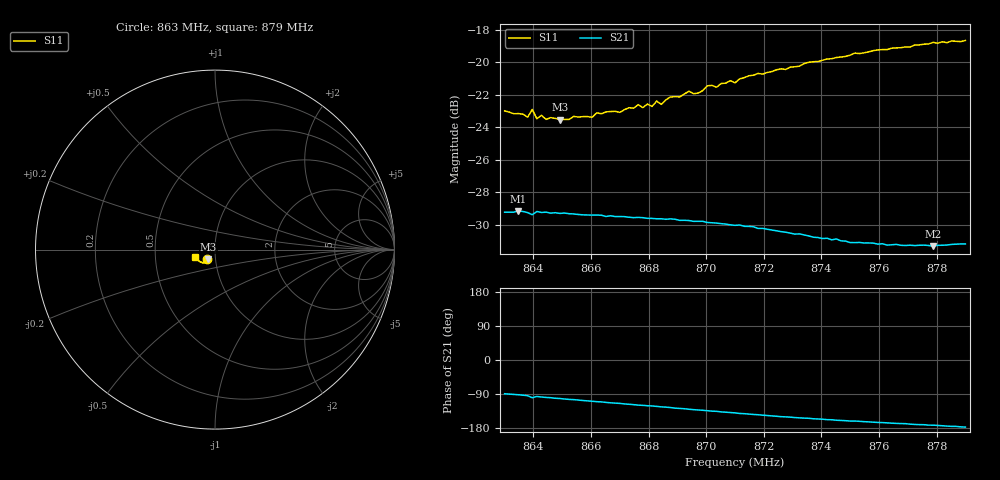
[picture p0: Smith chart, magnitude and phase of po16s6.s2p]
# HZ S RI R 50
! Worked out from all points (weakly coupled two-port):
!   101 points, 863 MHz to 879 MHz, reference 50 ohm
!   highest |S21| = -29.14 dB at 863.48 MHz (marker M1); lowest = -31.3 dB at 877.88 MHz (marker M2)
!   lowest |S11| = -23.5 dB at 864.92 MHz (marker M3), VSWR 1.14, Z = 46.1 - j5.11 ohm
!   |S11| at or under -10 dB: start of sweep to end of sweep
!   S12 and S22 are empty: the file has one direction only
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8.63e8  -0.0454 -0.0545  0.000627 -0.0346  0 0  0 0
8.6348e8  -0.0428 -0.0548  -0.00108 -0.0349  0 0  0 0
8.638e8  -0.0408 -0.0542  -0.00258 -0.0344  0 0  0 0
8.6396e8  -0.0452 -0.0556  -0.00562 -0.0335  0 0  0 0
8.6412e8  -0.0391 -0.0544  -0.00378 -0.0346  0 0  0 0
8.6428e8  -0.0387 -0.0567  -0.00461 -0.0342  0 0  0 0
8.6492e8  -0.0375 -0.0551  -0.00691 -0.0336  0 0  0 0
8.6572e8  -0.0344 -0.0587  -0.00989 -0.0325  0 0  0 0
8.67e8  -0.0359 -0.0603  -0.0139 -0.0305  0 0  0 0
8.6764e8  -0.0369 -0.0642  -0.0162 -0.0292  0 0  0 0
8.6812e8  -0.0371 -0.063  -0.0172 -0.0283  0 0  0 0
8.6828e8  -0.0375 -0.0661  -0.0177 -0.0279  0 0  0 0
8.6844e8  -0.035 -0.0655  -0.0183 -0.0275  0 0  0 0
8.6876e8  -0.0395 -0.0675  -0.0192 -0.0269  0 0  0 0
8.6972e8  -0.0392 -0.0702  -0.0217 -0.0241  0 0  0 0
8.7004e8  -0.0457 -0.0713  -0.0223 -0.0232  0 0  0 0
8.71e8  -0.0466 -0.0728  -0.024 -0.0204  0 0  0 0
8.7148e8  -0.053 -0.0739  -0.0249 -0.019  0 0  0 0
8.7372e8  -0.0688 -0.0732  -0.0263 -0.0122  0 0  0 0
8.7644e8  -0.0918 -0.0616  -0.0267 -0.00632  0 0  0 0
8.7788e8  -0.1043 -0.0489  -0.0269 -0.00381  0 0  0 0
8.79e8  -0.1101 -0.0387  -0.0276 -0.00144  0 0  0 0
